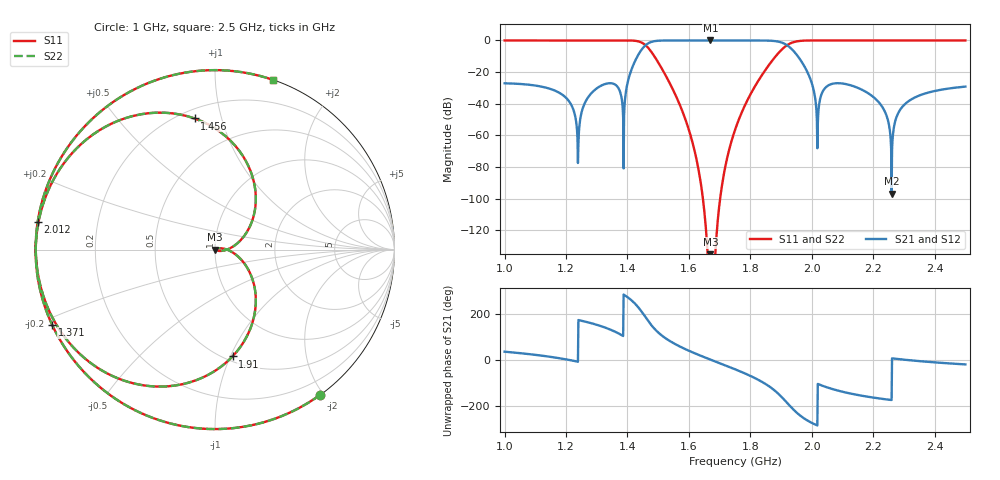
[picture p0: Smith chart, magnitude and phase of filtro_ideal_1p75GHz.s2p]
# GHz S RI R 50
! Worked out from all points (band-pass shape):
!   1000 points, 1 GHz to 2.5 GHz, reference 50 ohm
!   highest |S21| = 0.00 dB at 1.67 GHz (marker M1); lowest = -96.8 dB at 2.26 GHz (marker M2)
!   |S21| within 3 dB of the highest: 1.459 GHz to 1.919 GHz (460.3 MHz wide, 27.3 % of centre)
!   lowest |S11| = -188.5 dB at 1.67 GHz (marker M3), VSWR 1.00, Z = 50 - j3.75e-08 ohm
!   |S11| at or under -10 dB: 1.488 GHz to 1.882 GHz (394.8 MHz wide, 23.4 % of centre)
!   |S22| runs from - to 0.0 dB; largest |S21 - S12| = 0
!   S11 on the Smith chart (normalised r, x): 1 GHz: 0.00, -1.96; 1.371 GHz: 0.00, -0.22; 1.456 GHz: 0.26, +0.82; 1.91 GHz: 0.54, -1.02; 2.012 GHz: 0.00, +0.08; 2.5 GHz: 0.00, +1.40
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1  0.5855 -0.8095  0.0359 0.026  0.0359 0.026  0.5855 -0.8095
1.183183  0.1161 -0.993  0.0206 0.00241  0.0206 0.00241  0.1161 -0.993
1.238739  -0.1272 -0.9919  0.000133 -1.71e-05  0.000133 -1.71e-05  -0.1272 -0.9919
1.250751  -0.1884 -0.9821  -0.00534 0.00102  -0.00534 0.00102  -0.1884 -0.9821
1.370871  -0.9077 -0.4185  -0.0129 0.0279  -0.0129 0.0279  -0.9077 -0.4185
1.388889  -0.9813 -0.1923  0.000817 -0.00417  0.000817 -0.00417  -0.9813 -0.1923
1.40991  -0.9828 0.1562  -0.0155 -0.0977  -0.0155 -0.0977  -0.9828 0.1562
1.456456  -0.1136 0.7307  -0.6652 -0.1034  -0.6652 -0.1034  -0.1136 0.7307
1.5  0.1773 0.0974  -0.4714 0.8584  -0.4714 0.8584  0.1773 0.0974
1.630631  3.42e-05 -8.25e-05  0.9236 0.3833  0.9236 0.3833  3.42e-05 -8.25e-05
1.66967  1.23e-11 -3.75e-10  0.9995 0.0329  0.9995 0.0329  1.23e-11 -3.75e-10
1.714715  2.45e-05 6.28e-05  0.9317 -0.3631  0.9317 -0.3631  2.45e-05 6.28e-05
1.750751  0.001 0.00119  0.7632 -0.6461  0.7632 -0.6461  0.001 0.00119
1.846847  0.1069 -0.0213  -0.1942 -0.9749  -0.1942 -0.9749  0.1069 -0.0213
1.90991  0.0976 -0.5953  -0.7871 -0.129  -0.7871 -0.129  0.0976 -0.5953
2  -0.9988 0.0199  0.000892 0.0447  0.000892 0.0447  -0.9988 0.0199
2.012012  -0.9883 0.1521  0.00192 0.0125  0.00192 0.0125  -0.9883 0.1521
2.123123  -0.59 0.8065  -0.0316 -0.0231  -0.0316 -0.0231  -0.59 0.8065
2.250751  -0.1538 0.9881  -0.00225 -0.00035  -0.00225 -0.00035  -0.1538 0.9881
2.25976  -0.1289 0.9917  -1.44e-05 -1.87e-06  -1.44e-05 -1.87e-06  -0.1289 0.9917
2.315315  0.00935 0.9999  0.0121 -0.000113  0.0121 -0.000113  0.00935 0.9999
2.5  0.3248 0.9451  0.0329 -0.0113  0.0329 -0.0113  0.3248 0.9451
